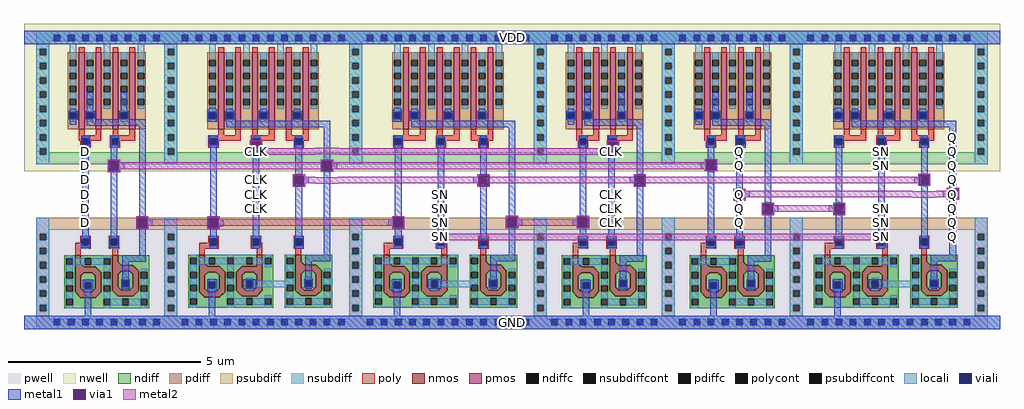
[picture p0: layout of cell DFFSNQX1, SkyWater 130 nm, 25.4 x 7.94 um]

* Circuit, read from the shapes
.subckt DFFSNQX1 Q D CLK SN VDD GND
XM1 n1 D GND GND sky130_fd_pr__nfet_01v8 w=2.6 l=0.1476
XM2 n1 n2 n3 GND sky130_fd_pr__nfet_01v8 w=2.56 l=0.1462
XM3 n4 n3 GND GND sky130_fd_pr__nfet_01v8 w=2.6 l=0.1484
XM4 n4 CLK n5 GND sky130_fd_pr__nfet_01v8 w=2.52 l=0.1479
XM5 n5 n6 n2 GND sky130_fd_pr__nfet_01v8 w=2.56 l=0.1458
XM6 n7 n3 GND GND sky130_fd_pr__nfet_01v8 w=2.6 l=0.1491
XM7 n7 SN n8 GND sky130_fd_pr__nfet_01v8 w=2.52 l=0.1479
XM8 n8 n6 n9 GND sky130_fd_pr__nfet_01v8 w=2.56 l=0.1457
XM9 n10 n9 GND GND sky130_fd_pr__nfet_01v8 w=2.6 l=0.1478
XM10 n10 CLK n6 GND sky130_fd_pr__nfet_01v8 w=2.56 l=0.146
XM11 n11 n2 GND GND sky130_fd_pr__nfet_01v8 w=2.6 l=0.1478
XM12 n11 Q n12 GND sky130_fd_pr__nfet_01v8 w=2.56 l=0.1462
XM13 n13 n12 GND GND sky130_fd_pr__nfet_01v8 w=2.6 l=0.1491
XM14 n13 SN n14 GND sky130_fd_pr__nfet_01v8 w=2.52 l=0.1478
XM15 n14 n6 Q GND sky130_fd_pr__nfet_01v8 w=2.56 l=0.146
XM16 n3 D VDD VDD sky130_fd_pr__pfet_01v8 w=2 l=0.15 m=2
XM17 n3 n2 VDD VDD sky130_fd_pr__pfet_01v8 w=2 l=0.15 m=2
XM18 n2 n3 VDD VDD sky130_fd_pr__pfet_01v8 w=2 l=0.15 m=2
XM19 n2 CLK VDD VDD sky130_fd_pr__pfet_01v8 w=2 l=0.15 m=2
XM20 n2 n6 VDD VDD sky130_fd_pr__pfet_01v8 w=2 l=0.15 m=2
XM21 n9 n3 VDD VDD sky130_fd_pr__pfet_01v8 w=2 l=0.15 m=2
XM22 n9 SN VDD VDD sky130_fd_pr__pfet_01v8 w=2 l=0.15 m=2
XM23 n9 n6 VDD VDD sky130_fd_pr__pfet_01v8 w=2 l=0.15 m=2
XM24 n6 n9 VDD VDD sky130_fd_pr__pfet_01v8 w=2 l=0.15 m=2
XM25 n6 CLK VDD VDD sky130_fd_pr__pfet_01v8 w=2 l=0.15 m=2
XM26 n12 n2 VDD VDD sky130_fd_pr__pfet_01v8 w=2 l=0.15 m=2
XM27 n12 Q VDD VDD sky130_fd_pr__pfet_01v8 w=2 l=0.15 m=2
XM28 Q n12 VDD VDD sky130_fd_pr__pfet_01v8 w=2 l=0.15 m=2
XM29 Q SN VDD VDD sky130_fd_pr__pfet_01v8 w=2 l=0.15 m=2
XM30 Q n6 VDD VDD sky130_fd_pr__pfet_01v8 w=2 l=0.15 m=2
.ends

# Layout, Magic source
magic
tech sky130A
magscale 1 2
<< nwell >>
rect 0 822 5080 1588
<< pwell >>
rect 155 21 189 53
rect 64 0 5016 21
<< psubdiff >>
rect 64 0 5016 21
<< nsubdiff >>
rect 64 1550 5016 1552
<< locali >>
rect 0 1482 5080 1552
rect 0 0 5080 70
<< metal1 >>
rect 0 1482 5080 1552
rect 4817 981 4851 1015
rect 303 907 337 941
rect 1191 907 1225 941
rect 3041 907 3075 941
rect 3707 907 3741 941
rect 4447 907 4481 941
rect 4817 907 4851 941
rect 303 833 337 867
rect 3707 833 3741 867
rect 4447 833 4481 867
rect 4817 833 4851 867
rect 303 759 337 793
rect 1191 759 1225 793
rect 4817 759 4851 793
rect 3692 725 3756 731
rect 303 685 337 719
rect 1191 685 1225 719
rect 2153 685 2187 719
rect 3041 685 3075 719
rect 3692 673 3698 725
rect 3750 673 3756 725
rect 3692 667 3756 673
rect 4803 730 4867 736
rect 4803 678 4809 730
rect 4861 678 4867 730
rect 4803 672 4867 678
rect 3840 651 3904 657
rect 303 611 337 645
rect 1191 611 1225 645
rect 2153 611 2187 645
rect 3041 611 3075 645
rect 3707 611 3741 645
rect 3840 599 3846 651
rect 3898 599 3904 651
rect 3840 593 3904 599
rect 4211 651 4275 657
rect 4211 599 4217 651
rect 4269 599 4275 651
rect 4447 611 4481 645
rect 4817 611 4851 645
rect 4211 593 4275 599
rect 303 537 337 571
rect 2153 537 2187 571
rect 3041 537 3075 571
rect 3707 537 3741 571
rect 4447 537 4481 571
rect 4817 537 4851 571
rect 2153 463 2187 497
rect 4447 463 4481 497
rect 4817 463 4851 497
rect 0 0 5080 70
<< via1 >>
rect 3698 673 3750 725
rect 4809 678 4861 730
rect 3846 599 3898 651
rect 4217 599 4269 651
<< metal2 >>
rect 3692 725 3756 731
rect 3692 673 3698 725
rect 3750 719 3756 725
rect 4803 730 4867 736
rect 4803 719 4809 730
rect 3750 717 4626 719
rect 4746 717 4809 719
rect 3750 685 4809 717
rect 3750 673 3756 685
rect 4626 683 4746 685
rect 3692 667 3756 673
rect 4803 678 4809 685
rect 4861 678 4867 730
rect 4803 672 4867 678
rect 3840 651 3904 657
rect 3840 599 3846 651
rect 3898 645 3904 651
rect 4211 651 4275 657
rect 4211 645 4217 651
rect 3898 611 4217 645
rect 3898 599 3904 611
rect 3840 593 3904 599
rect 4211 599 4217 611
rect 4269 599 4275 651
rect 4211 593 4275 599
use dffsnx1_pcell  dffsnx1_pcell_0
transform 1 0 98 0 1 36
box -87 -34 4971 1550
use li1_M1_contact  li1_M1_contact_0
transform 1 0 4242 0 1 628
box -53 -33 29 33
use li1_M1_contact  li1_M1_contact_1
transform -1 0 3872 0 -1 628
box -53 -33 29 33
use li1_M1_contact  li1_M1_contact_2
transform -1 0 3724 0 -1 702
box -53 -33 29 33
use li1_M1_contact  li1_M1_contact_11
transform 1 0 4834 0 1 702
box -53 -33 29 33
<< labels >>
rlabel metal1 4817 685 4851 719 1 Q
port 1 nsew signal output
rlabel metal1 4817 759 4851 793 1 Q
port 1 nsew signal output
rlabel metal1 4817 833 4851 867 1 Q
port 1 nsew signal output
rlabel metal1 4817 907 4851 941 1 Q
port 1 nsew signal output
rlabel metal1 4817 981 4851 1015 1 Q
port 1 nsew signal output
rlabel metal1 4817 611 4851 645 1 Q
port 1 nsew signal output
rlabel metal1 4817 537 4851 571 1 Q
port 1 nsew signal output
rlabel metal1 4817 463 4851 497 1 Q
port 1 nsew signal output
rlabel metal1 3707 537 3741 571 1 Q
port 1 nsew signal output
rlabel metal1 3707 611 3741 645 1 Q
port 1 nsew signal output
rlabel metal1 3707 685 3741 719 1 Q
port 1 nsew signal output
rlabel metal1 3707 833 3741 867 1 Q
port 1 nsew signal output
rlabel metal1 3707 907 3741 941 1 Q
port 1 nsew signal output
rlabel metal1 303 833 337 867 1 D
port 2 nsew signal input
rlabel metal1 303 685 337 719 1 D
port 2 nsew signal input
rlabel metal1 303 611 337 645 1 D
port 2 nsew signal input
rlabel metal1 303 537 337 571 1 D
port 2 nsew signal input
rlabel metal1 303 907 337 941 1 D
port 2 nsew signal input
rlabel metal1 303 759 337 793 1 D
port 2 nsew signal input
rlabel metal1 1191 759 1225 793 1 CLK
port 3 nsew signal input
rlabel metal1 1191 685 1225 719 1 CLK
port 3 nsew signal input
rlabel metal1 1191 611 1225 645 1 CLK
port 3 nsew signal input
rlabel metal1 1191 907 1225 941 1 CLK
port 3 nsew signal input
rlabel metal1 3041 611 3075 645 1 CLK
port 3 nsew signal input
rlabel metal1 3041 685 3075 719 1 CLK
port 3 nsew signal input
rlabel metal1 3041 537 3075 571 1 CLK
port 3 nsew signal input
rlabel metal1 3041 907 3075 941 1 CLK
port 3 nsew signal input
rlabel metal1 2153 463 2187 497 1 SN
port 4 nsew signal input
rlabel metal1 2153 537 2187 571 1 SN
port 4 nsew signal input
rlabel metal1 2153 611 2187 645 1 SN
port 4 nsew signal input
rlabel metal1 2153 685 2187 719 1 SN
port 4 nsew signal input
rlabel metal1 4447 537 4481 571 1 SN
port 4 nsew signal input
rlabel metal1 4447 463 4481 497 1 SN
port 4 nsew signal input
rlabel metal1 4447 611 4481 645 1 SN
port 4 nsew signal input
rlabel metal1 4447 833 4481 867 1 SN
port 4 nsew signal input
rlabel metal1 4447 907 4481 941 1 SN
port 4 nsew signal input
rlabel metal1 0 1482 5080 1552 1 VDD
port 5 nsew power bidirectional abutment
rlabel metal1 0 0 5080 70 1 GND
port 6 nsew ground bidirectional abutment
<< properties >>
string FIXED_BBOX 0 0 5080 1552
string LEFclass CORE
string LEFsite unitrh
string LEFsymmetry X Y
<< end >>

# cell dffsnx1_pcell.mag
magic
tech sky130A
magscale 1 2
<< metal1 >>
rect 1078 941 1142 947
rect 1078 889 1084 941
rect 1136 889 1142 941
rect 1078 883 1142 889
rect 2935 940 2999 946
rect 2935 888 2941 940
rect 2993 888 2999 940
rect 2935 882 2999 888
rect 338 839 402 845
rect 338 787 344 839
rect 396 787 402 839
rect 338 781 402 787
rect 1447 840 1511 846
rect 1447 788 1453 840
rect 1505 788 1511 840
rect 1447 782 1511 788
rect 3446 843 3510 849
rect 3446 791 3452 843
rect 3504 791 3510 843
rect 3446 785 3510 791
rect 1301 763 1365 769
rect 1301 711 1307 763
rect 1359 711 1365 763
rect 1301 705 1365 711
rect 2262 763 2326 769
rect 2262 711 2268 763
rect 2320 711 2326 763
rect 2262 705 2326 711
rect 3075 763 3139 769
rect 3075 711 3081 763
rect 3133 711 3139 763
rect 3075 705 3139 711
rect 4556 767 4620 773
rect 4556 715 4562 767
rect 4614 715 4620 767
rect 4556 709 4620 715
rect 486 544 550 550
rect 486 492 492 544
rect 544 492 550 544
rect 486 486 550 492
rect 856 544 920 550
rect 856 492 862 544
rect 914 492 920 544
rect 856 486 920 492
rect 1818 545 1882 551
rect 1818 493 1824 545
rect 1876 493 1882 545
rect 1818 487 1882 493
rect 2410 547 2474 553
rect 2410 495 2416 547
rect 2468 495 2474 547
rect 2410 489 2474 495
rect 2779 547 2843 553
rect 2779 495 2785 547
rect 2837 495 2843 547
rect 2779 489 2843 495
rect 2040 468 2104 474
rect 2040 416 2046 468
rect 2098 416 2104 468
rect 2040 410 2104 416
rect 4332 468 4396 474
rect 4332 416 4338 468
rect 4390 416 4396 468
rect 4332 410 4396 416
<< via1 >>
rect 1084 889 1136 941
rect 2941 888 2993 940
rect 344 787 396 839
rect 1453 788 1505 840
rect 3452 791 3504 843
rect 1307 711 1359 763
rect 2268 711 2320 763
rect 3081 711 3133 763
rect 4562 715 4614 767
rect 492 492 544 544
rect 862 492 914 544
rect 1824 493 1876 545
rect 2416 495 2468 547
rect 2785 495 2837 547
rect 2046 416 2098 468
rect 4338 416 4390 468
<< metal2 >>
rect 1078 941 1142 947
rect 1078 889 1084 941
rect 1136 905 1142 941
rect 2935 940 2999 946
rect 1419 905 1539 908
rect 2935 905 2941 940
rect 1136 889 2941 905
rect 1078 888 2941 889
rect 2993 888 2999 940
rect 1078 883 2999 888
rect 1093 882 2999 883
rect 1093 874 2981 882
rect 1093 871 1419 874
rect 1539 871 2981 874
rect 338 839 402 845
rect 338 787 344 839
rect 396 831 402 839
rect 1447 840 1511 846
rect 1447 831 1453 840
rect 396 797 1453 831
rect 396 787 402 797
rect 338 781 402 787
rect 1447 788 1453 797
rect 1505 831 1511 840
rect 3446 843 3510 849
rect 3446 831 3452 843
rect 1505 797 3452 831
rect 1505 788 1511 797
rect 1447 782 1511 788
rect 3446 791 3452 797
rect 3504 791 3510 843
rect 3446 785 3510 791
rect 1301 763 1365 769
rect 1301 711 1307 763
rect 1359 757 1365 763
rect 2262 763 2326 769
rect 2262 757 2268 763
rect 1359 754 1419 757
rect 1539 754 2268 757
rect 1359 723 2268 754
rect 1359 711 1365 723
rect 1419 720 1539 723
rect 1301 705 1365 711
rect 2262 711 2268 723
rect 2320 757 2326 763
rect 3075 763 3139 769
rect 3075 757 3081 763
rect 2320 723 3081 757
rect 2320 711 2326 723
rect 2262 705 2326 711
rect 3075 711 3081 723
rect 3133 757 3139 763
rect 4556 767 4620 773
rect 4556 757 4562 767
rect 3133 723 4562 757
rect 3133 711 3139 723
rect 3075 705 3139 711
rect 4556 715 4562 723
rect 4614 715 4620 767
rect 4556 709 4620 715
rect 486 544 550 550
rect 486 492 492 544
rect 544 535 550 544
rect 856 544 920 550
rect 856 535 862 544
rect 544 501 862 535
rect 544 492 550 501
rect 486 486 550 492
rect 856 492 862 501
rect 914 535 920 544
rect 1818 545 1882 551
rect 1818 535 1824 545
rect 914 501 1824 535
rect 914 492 920 501
rect 856 486 920 492
rect 1818 493 1824 501
rect 1876 493 1882 545
rect 1818 487 1882 493
rect 2410 547 2474 553
rect 2410 495 2416 547
rect 2468 535 2474 547
rect 2779 547 2843 553
rect 2779 535 2785 547
rect 2468 501 2785 535
rect 2468 495 2474 501
rect 2410 489 2474 495
rect 2779 495 2785 501
rect 2837 495 2843 547
rect 2779 489 2843 495
rect 2040 468 2104 474
rect 2040 416 2046 468
rect 2098 461 2104 468
rect 4332 468 4396 474
rect 4332 461 4338 468
rect 2098 427 4338 461
rect 2098 416 2104 427
rect 2040 410 2104 416
rect 4332 416 4338 427
rect 4390 416 4396 468
rect 4332 410 4396 416
use li1_M1_contact  li1_M1_contact_0
transform -1 0 1332 0 -1 740
box -53 -33 29 33
use li1_M1_contact  li1_M1_contact_1
transform -1 0 370 0 -1 814
box -53 -33 29 33
use li1_M1_contact  li1_M1_contact_3
transform -1 0 518 0 -1 518
box -53 -33 29 33
use li1_M1_contact  li1_M1_contact_11
transform 1 0 4588 0 1 740
box -53 -33 29 33
use li1_M1_contact  li1_M1_contact_12
transform 1 0 3108 0 1 740
box -53 -33 29 33
use li1_M1_contact  li1_M1_contact_13
transform 1 0 2294 0 1 740
box -53 -33 29 33
use li1_M1_contact  li1_M1_contact_14
transform 1 0 1850 0 1 518
box -53 -33 29 33
use li1_M1_contact  li1_M1_contact_15
transform -1 0 888 0 -1 517
box -53 -33 29 33
use li1_M1_contact  li1_M1_contact_16
transform -1 0 1479 0 -1 814
box -53 -33 29 33
use li1_M1_contact  li1_M1_contact_17
transform -1 0 2442 0 -1 518
box -53 -33 29 33
use li1_M1_contact  li1_M1_contact_18
transform 1 0 2812 0 1 518
box -53 -33 29 33
use li1_M1_contact  li1_M1_contact_19
transform 1 0 3478 0 1 814
box -53 -33 29 33
use nand2x1_pcell  nand2x1_pcell_0
transform 1 0 2590 0 1 0
box -87 -34 753 1550
use nand2x1_pcell  nand2x1_pcell_2
transform 1 0 3256 0 1 0
box -87 -34 753 1550
use nand2x1_pcell  nand2x1_pcell_5
transform 1 0 0 0 1 0
box -87 -34 753 1550
use nand3x1_pcell  nand3x1_pcell_0
transform 1 0 666 0 1 0
box -87 -34 1049 1550
use nand3x1_pcell  nand3x1_pcell_1
transform 1 0 3922 0 1 0
box -87 -34 1049 1550
use nand3x1_pcell  nand3x1_pcell_2
transform 1 0 1628 0 1 0
box -87 -34 1049 1550
<< end >>

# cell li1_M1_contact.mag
magic
tech sky130A
magscale 1 2
<< locali >>
rect -17 17 17 33
rect -17 -33 17 -17
<< viali >>
rect -17 -17 17 17
<< metal1 >>
rect -23 17 23 23
rect -53 -17 -17 17
rect 17 -17 29 17
rect -23 -23 23 -17
<< end >>

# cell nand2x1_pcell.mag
magic
tech sky130A
magscale 1 2
<< nwell >>
rect 87 786 579 1550
<< pwell >>
rect 34 542 632 544
rect -31 -30 697 542
rect 34 -34 632 -30
<< pdiff >>
rect 223 1093 269 1100
rect 223 1059 229 1093
rect 263 1059 269 1093
rect 223 1053 269 1059
rect 399 1093 445 1100
rect 399 1059 405 1093
rect 439 1059 445 1093
rect 399 1053 445 1059
<< pdiffc >>
rect 141 1059 175 1093
rect 229 1059 263 1093
rect 405 1059 439 1093
<< psubdiff >>
rect 34 542 632 544
rect 31 482 635 542
rect 31 480 34 482
rect 632 480 635 482
rect 31 -17 57 17
rect 91 -17 131 17
rect 165 -17 205 17
rect 239 -17 279 17
rect 313 -17 353 17
rect 387 -17 427 17
rect 461 -17 501 17
rect 535 -17 575 17
rect 609 -17 635 17
rect 31 -30 635 -17
rect 34 -34 632 -30
<< nsubdiff >>
rect 34 1497 632 1514
rect 34 1463 57 1497
rect 91 1463 131 1497
rect 165 1463 205 1497
rect 239 1463 279 1497
rect 313 1463 353 1497
rect 387 1463 427 1497
rect 461 1463 501 1497
rect 535 1463 575 1497
rect 609 1463 632 1497
rect 34 822 632 884
<< psubdiffcont >>
rect 57 -17 91 17
rect 131 -17 165 17
rect 205 -17 239 17
rect 279 -17 313 17
rect 353 -17 387 17
rect 427 -17 461 17
rect 501 -17 535 17
rect 575 -17 609 17
<< nsubdiffcont >>
rect 57 1463 91 1497
rect 131 1463 165 1497
rect 205 1463 239 1497
rect 279 1463 313 1497
rect 353 1463 387 1497
rect 427 1463 461 1497
rect 501 1463 535 1497
rect 575 1463 609 1497
<< poly >>
rect 168 375 198 413
rect 362 382 392 383
<< locali >>
rect -34 1497 634 1514
rect -34 1463 57 1497
rect 91 1463 131 1497
rect 165 1463 205 1497
rect 239 1463 279 1497
rect 313 1463 353 1497
rect 387 1463 427 1497
rect 461 1463 501 1497
rect 535 1463 575 1497
rect 609 1463 634 1497
rect -34 1446 634 1463
rect 141 1093 175 1122
rect 141 1043 175 1059
rect 229 1093 263 1122
rect 229 1043 263 1059
rect 405 1093 439 1122
rect 405 1043 439 1059
rect 33 17 659 34
rect 33 -17 57 17
rect 91 -17 131 17
rect 165 -17 205 17
rect 239 -17 279 17
rect 313 -17 353 17
rect 387 -17 427 17
rect 461 -17 501 17
rect 535 -17 575 17
rect 609 -17 659 17
rect 33 -34 659 -17
<< viali >>
rect 57 1463 91 1497
rect 131 1463 165 1497
rect 205 1463 239 1497
rect 279 1463 313 1497
rect 353 1463 387 1497
rect 427 1463 461 1497
rect 501 1463 535 1497
rect 575 1463 609 1497
rect 141 1059 175 1093
rect 229 1059 263 1093
rect 405 1059 439 1093
rect 205 923 239 957
rect 359 923 393 957
rect 205 399 239 433
rect 353 399 387 433
rect 219 174 253 208
rect 413 183 447 217
rect 57 -17 91 17
rect 131 -17 165 17
rect 205 -17 239 17
rect 279 -17 313 17
rect 353 -17 387 17
rect 427 -17 461 17
rect 501 -17 535 17
rect 575 -17 609 17
<< metal1 >>
rect -34 1497 700 1514
rect -34 1463 57 1497
rect 91 1463 131 1497
rect 165 1463 205 1497
rect 239 1463 279 1497
rect 313 1463 353 1497
rect 387 1463 427 1497
rect 461 1463 501 1497
rect 535 1463 575 1497
rect 609 1463 700 1497
rect -34 1446 700 1463
rect 141 1100 175 1111
rect 229 1100 263 1196
rect 405 1100 439 1196
rect 135 1093 181 1100
rect 135 1059 141 1093
rect 175 1059 181 1093
rect 135 1053 181 1059
rect 223 1093 269 1100
rect 223 1059 229 1093
rect 263 1059 269 1093
rect 223 1057 269 1059
rect 399 1093 445 1100
rect 399 1059 405 1093
rect 439 1059 445 1093
rect 399 1057 445 1059
rect 223 1053 535 1057
rect 141 1027 175 1053
rect 229 1023 535 1053
rect 199 957 246 969
rect 199 923 205 957
rect 239 923 246 957
rect 199 912 246 923
rect 353 957 399 969
rect 353 923 359 957
rect 393 923 399 957
rect 353 916 399 923
rect 205 441 239 912
rect 353 911 394 916
rect 353 441 387 911
rect 198 433 246 441
rect 198 399 205 433
rect 239 399 246 433
rect 198 387 246 399
rect 347 433 394 441
rect 347 399 353 433
rect 387 399 394 433
rect 347 387 394 399
rect 501 348 535 1023
rect 413 314 535 348
rect 413 224 447 314
rect 209 208 262 220
rect 209 174 219 208
rect 253 174 262 208
rect 209 165 262 174
rect 407 217 453 224
rect 407 183 413 217
rect 447 183 453 217
rect 407 171 453 183
rect 219 34 253 165
rect -34 17 700 34
rect -34 -17 57 17
rect 91 -17 131 17
rect 165 -17 205 17
rect 239 -17 279 17
rect 313 -17 353 17
rect 387 -17 427 17
rect 461 -17 501 17
rect 535 -17 575 17
rect 609 -17 700 17
rect -34 -34 700 -17
use diff_ring_side  diff_ring_side_0
transform 1 0 666 0 1 0
box -87 -34 87 1550
use diff_ring_side  diff_ring_side_1
transform 1 0 0 0 1 0
box -87 -34 87 1550
use nmos_bottom  nmos_bottom_0
transform -1 0 360 0 1 73
box 0 0 248 302
use nmos_top_trim1  nmos_top_trim1_0
transform -1 0 554 0 1 73
box 0 0 248 309
use pmos2  pmos2_0
transform 1 0 43 0 1 1404
box 52 -461 352 42
use pmos2  pmos2_1
transform 1 0 219 0 1 1404
box 52 -461 352 42
use poly_li1_contact  poly_li1_contact_0
transform 0 1 223 -1 0 941
box -32 -28 34 26
use poly_li1_contact  poly_li1_contact_1
transform 0 1 223 -1 0 417
box -32 -28 34 26
use poly_li1_contact  poly_li1_contact_2
transform 0 -1 369 1 0 415
box -32 -28 34 26
use poly_li1_contact  poly_li1_contact_3
transform 0 1 377 -1 0 941
box -32 -28 34 26
<< end >>

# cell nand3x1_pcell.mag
magic
tech sky130A
magscale 1 2
<< nwell >>
rect 87 1099 875 1550
rect 87 1093 220 1099
rect 87 1059 205 1093
rect 229 1059 263 1093
rect 87 1056 220 1059
rect 279 1056 875 1099
rect 87 786 875 1056
<< pwell >>
rect 34 -34 928 544
<< pdiffc >>
rect 201 1059 235 1093
rect 289 1059 323 1093
rect 465 1059 499 1093
rect 641 1059 675 1093
<< psubdiff >>
rect 34 482 928 544
rect 34 -17 57 17
rect 91 -17 131 17
rect 165 -17 205 17
rect 239 -17 279 17
rect 313 -17 353 17
rect 387 -17 427 17
rect 461 -17 501 17
rect 535 -17 575 17
rect 609 -17 649 17
rect 683 -17 723 17
rect 757 -17 797 17
rect 831 -17 871 17
rect 905 -17 928 17
rect 34 -34 928 -17
<< nsubdiff >>
rect 34 1497 928 1514
rect 34 1463 57 1497
rect 91 1463 131 1497
rect 165 1463 205 1497
rect 239 1463 279 1497
rect 313 1463 353 1497
rect 387 1463 427 1497
rect 461 1463 501 1497
rect 535 1463 575 1497
rect 609 1463 649 1497
rect 683 1463 723 1497
rect 757 1463 797 1497
rect 831 1463 871 1497
rect 905 1463 928 1497
rect 34 822 928 884
<< psubdiffcont >>
rect 57 -17 91 17
rect 131 -17 165 17
rect 205 -17 239 17
rect 279 -17 313 17
rect 353 -17 387 17
rect 427 -17 461 17
rect 501 -17 535 17
rect 575 -17 609 17
rect 649 -17 683 17
rect 723 -17 757 17
rect 797 -17 831 17
rect 871 -17 905 17
<< nsubdiffcont >>
rect 57 1463 91 1497
rect 131 1463 165 1497
rect 205 1463 239 1497
rect 279 1463 313 1497
rect 353 1463 387 1497
rect 427 1463 461 1497
rect 501 1463 535 1497
rect 575 1463 609 1497
rect 649 1463 683 1497
rect 723 1463 757 1497
rect 797 1463 831 1497
rect 871 1463 905 1497
<< poly >>
rect 147 383 195 413
rect 471 383 477 413
rect 147 377 177 383
rect 447 377 477 383
<< locali >>
rect 14 1497 943 1514
rect 14 1463 57 1497
rect 91 1463 131 1497
rect 165 1463 205 1497
rect 239 1463 279 1497
rect 313 1463 353 1497
rect 387 1463 427 1497
rect 461 1463 501 1497
rect 535 1463 575 1497
rect 609 1463 649 1497
rect 683 1463 723 1497
rect 757 1463 797 1497
rect 831 1463 871 1497
rect 905 1463 943 1497
rect 14 1446 943 1463
rect 201 1093 235 1120
rect 201 1043 235 1059
rect 289 1093 323 1112
rect 289 1043 323 1059
rect 465 1093 499 1117
rect 465 1043 499 1059
rect 641 1093 675 1112
rect 641 1043 675 1059
rect 427 182 603 216
rect 34 17 930 34
rect 34 -17 57 17
rect 91 -17 131 17
rect 165 -17 205 17
rect 239 -17 279 17
rect 313 -17 353 17
rect 387 -17 427 17
rect 461 -17 501 17
rect 535 -17 575 17
rect 609 -17 649 17
rect 683 -17 723 17
rect 757 -17 797 17
rect 831 -17 871 17
rect 905 -17 930 17
rect 34 -34 930 -17
<< viali >>
rect 57 1463 91 1497
rect 131 1463 165 1497
rect 205 1463 239 1497
rect 279 1463 313 1497
rect 353 1463 387 1497
rect 427 1463 461 1497
rect 501 1463 535 1497
rect 575 1463 609 1497
rect 649 1463 683 1497
rect 723 1463 757 1497
rect 797 1463 831 1497
rect 871 1463 905 1497
rect 201 1059 235 1093
rect 289 1059 323 1093
rect 465 1059 499 1093
rect 641 1059 675 1093
rect 205 923 239 957
rect 427 923 461 957
rect 649 923 683 957
rect 205 399 239 433
rect 427 399 461 433
rect 649 399 683 433
rect 198 176 232 210
rect 393 182 427 216
rect 700 185 734 219
rect 57 -17 91 17
rect 131 -17 165 17
rect 205 -17 239 17
rect 279 -17 313 17
rect 353 -17 387 17
rect 427 -17 461 17
rect 501 -17 535 17
rect 575 -17 609 17
rect 649 -17 683 17
rect 723 -17 757 17
rect 797 -17 831 17
rect 871 -17 905 17
<< metal1 >>
rect 34 1497 928 1514
rect 34 1463 57 1497
rect 91 1463 131 1497
rect 165 1463 205 1497
rect 239 1463 279 1497
rect 313 1463 353 1497
rect 387 1463 427 1497
rect 461 1463 501 1497
rect 535 1463 575 1497
rect 609 1463 649 1497
rect 683 1463 723 1497
rect 757 1463 797 1497
rect 831 1463 871 1497
rect 905 1463 928 1497
rect 34 1446 928 1463
rect 201 1107 235 1116
rect 193 1093 241 1107
rect 289 1099 323 1111
rect 465 1099 499 1111
rect 641 1099 675 1111
rect 193 1059 201 1093
rect 235 1059 241 1093
rect 193 1043 241 1059
rect 283 1093 330 1099
rect 283 1059 289 1093
rect 323 1059 330 1093
rect 283 1048 330 1059
rect 458 1093 506 1099
rect 458 1059 465 1093
rect 499 1059 506 1093
rect 458 1048 506 1059
rect 635 1093 681 1099
rect 635 1059 641 1093
rect 675 1059 681 1093
rect 635 1048 681 1059
rect 289 1014 831 1048
rect 205 967 239 969
rect 198 957 246 967
rect 427 963 461 969
rect 649 963 683 969
rect 198 923 205 957
rect 239 923 246 957
rect 198 915 246 923
rect 421 957 467 963
rect 421 923 427 957
rect 461 923 467 957
rect 421 917 467 923
rect 643 957 689 963
rect 643 923 649 957
rect 683 923 689 957
rect 205 439 239 915
rect 427 439 461 917
rect 643 914 689 923
rect 649 439 683 914
rect 199 433 245 439
rect 199 399 205 433
rect 239 399 245 433
rect 199 391 245 399
rect 421 433 468 439
rect 421 399 427 433
rect 461 399 468 433
rect 421 391 468 399
rect 643 433 689 439
rect 643 399 649 433
rect 683 399 689 433
rect 643 391 689 399
rect 205 383 239 391
rect 427 383 461 391
rect 649 383 683 391
rect 797 350 831 1014
rect 700 316 831 350
rect 700 225 734 316
rect 189 210 241 222
rect 189 176 198 210
rect 232 176 241 210
rect 189 167 241 176
rect 378 216 445 223
rect 378 182 393 216
rect 427 182 445 216
rect 378 173 445 182
rect 694 219 740 225
rect 694 185 700 219
rect 734 185 740 219
rect 694 179 740 185
rect 700 173 734 179
rect 198 34 232 167
rect 34 17 928 34
rect 34 -17 57 17
rect 91 -17 131 17
rect 165 -17 205 17
rect 239 -17 279 17
rect 313 -17 353 17
rect 387 -17 427 17
rect 461 -17 501 17
rect 535 -17 575 17
rect 609 -17 649 17
rect 683 -17 723 17
rect 757 -17 797 17
rect 831 -17 871 17
rect 905 -17 928 17
rect 34 -34 928 -17
use diff_ring_side  diff_ring_side_0
transform 1 0 962 0 1 0
box -87 -34 87 1550
use diff_ring_side  diff_ring_side_1
transform 1 0 0 0 1 0
box -87 -34 87 1550
use nmos_bottom  nmos_bottom_0
transform -1 0 339 0 1 75
box 0 0 248 302
use nmos_side_left  nmos_side_left_0
transform 1 0 285 0 1 75
box 0 0 248 302
use nmos_top_trim1  nmos_top_trim1_0
transform -1 0 841 0 1 75
box 0 0 248 309
use pmos2  pmos2_0
transform 1 0 103 0 1 1404
box 52 -461 352 42
use pmos2  pmos2_1
transform 1 0 279 0 1 1404
box 52 -461 352 42
use pmos2  pmos2_2
transform 1 0 455 0 1 1404
box 52 -461 352 42
use poly_li1_contact  poly_li1_contact_0
transform 0 1 223 -1 0 941
box -32 -28 34 26
use poly_li1_contact  poly_li1_contact_1
transform 0 -1 221 1 0 415
box -32 -28 34 26
use poly_li1_contact  poly_li1_contact_2
transform 0 -1 443 1 0 415
box -32 -28 34 26
use poly_li1_contact  poly_li1_contact_3
transform 0 -1 443 1 0 939
box -32 -28 34 26
use poly_li1_contact  poly_li1_contact_4
transform 0 -1 665 1 0 415
box -32 -28 34 26
use poly_li1_contact  poly_li1_contact_5
transform 0 1 667 -1 0 941
box -32 -28 34 26
<< end >>

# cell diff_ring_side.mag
magic
tech sky130A
magscale 1 2
<< nwell >>
rect -87 786 87 1550
<< pwell >>
rect -34 -34 34 544
<< psubdiff >>
rect -34 461 34 544
rect -34 427 -17 461
rect 17 427 34 461
rect -34 387 34 427
rect -34 353 -17 387
rect 17 353 34 387
rect -34 313 34 353
rect -34 279 -17 313
rect 17 279 34 313
rect -34 239 34 279
rect -34 205 -17 239
rect 17 205 34 239
rect -34 165 34 205
rect -34 131 -17 165
rect 17 131 34 165
rect -34 91 34 131
rect -34 57 -17 91
rect 17 57 34 91
rect -34 -34 34 57
<< nsubdiff >>
rect -34 1423 34 1514
rect -34 1389 -17 1423
rect 17 1389 34 1423
rect -34 1349 34 1389
rect -34 1315 -17 1349
rect 17 1315 34 1349
rect -34 1275 34 1315
rect -34 1241 -17 1275
rect 17 1241 34 1275
rect -34 1201 34 1241
rect -34 1167 -17 1201
rect 17 1167 34 1201
rect -34 1127 34 1167
rect -34 1093 -17 1127
rect 17 1093 34 1127
rect -34 1053 34 1093
rect -34 1019 -17 1053
rect 17 1019 34 1053
rect -34 979 34 1019
rect -34 945 -17 979
rect 17 945 34 979
rect -34 905 34 945
rect -34 871 -17 905
rect 17 871 34 905
rect -34 822 34 871
<< psubdiffcont >>
rect -17 427 17 461
rect -17 353 17 387
rect -17 279 17 313
rect -17 205 17 239
rect -17 131 17 165
rect -17 57 17 91
<< nsubdiffcont >>
rect -17 1389 17 1423
rect -17 1315 17 1349
rect -17 1241 17 1275
rect -17 1167 17 1201
rect -17 1093 17 1127
rect -17 1019 17 1053
rect -17 945 17 979
rect -17 871 17 905
<< locali >>
rect -34 1423 34 1514
rect -34 1389 -17 1423
rect 17 1389 34 1423
rect -34 1349 34 1389
rect -34 1315 -17 1349
rect 17 1315 34 1349
rect -34 1275 34 1315
rect -34 1241 -17 1275
rect 17 1241 34 1275
rect -34 1201 34 1241
rect -34 1167 -17 1201
rect 17 1167 34 1201
rect -34 1127 34 1167
rect -34 1093 -17 1127
rect 17 1093 34 1127
rect -34 1053 34 1093
rect -34 1019 -17 1053
rect 17 1019 34 1053
rect -34 979 34 1019
rect -34 945 -17 979
rect 17 945 34 979
rect -34 905 34 945
rect -34 871 -17 905
rect 17 871 34 905
rect -34 822 34 871
rect -34 461 34 544
rect -34 427 -17 461
rect 17 427 34 461
rect -34 387 34 427
rect -34 353 -17 387
rect 17 353 34 387
rect -34 313 34 353
rect -34 279 -17 313
rect 17 279 34 313
rect -34 239 34 279
rect -34 205 -17 239
rect 17 205 34 239
rect -34 165 34 205
rect -34 131 -17 165
rect 17 131 34 165
rect -34 91 34 131
rect -34 57 -17 91
rect 17 57 34 91
rect -34 -34 34 57
<< metal1 >>
rect -34 1446 34 1514
rect -34 -34 34 34
<< end >>

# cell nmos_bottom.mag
magic
tech sky130A
magscale 1 2
<< nmos >>
tri 146 215 162 231 se
rect 162 215 192 276
tri 56 185 86 215 se
rect 86 185 192 215
rect 56 84 86 185
tri 86 169 102 185 nw
tri 146 169 162 185 ne
tri 86 84 102 100 sw
tri 146 84 162 100 se
rect 162 84 192 185
tri 56 54 86 84 ne
rect 86 54 162 84
tri 162 54 192 84 nw
<< ndiff >>
rect 0 260 162 276
rect 0 226 10 260
rect 44 226 107 260
rect 141 231 162 260
rect 141 226 146 231
rect 0 215 146 226
tri 146 215 162 231 nw
rect 192 260 248 276
rect 192 226 204 260
rect 238 226 248 260
rect 0 188 56 215
rect 0 154 10 188
rect 44 154 56 188
tri 56 185 86 215 nw
rect 192 188 248 226
rect 0 120 56 154
rect 0 86 10 120
rect 44 86 56 120
rect 0 54 56 86
tri 86 169 102 185 se
rect 102 169 146 185
tri 146 169 162 185 sw
rect 86 135 162 169
rect 86 101 107 135
rect 141 101 162 135
rect 86 100 162 101
tri 86 84 102 100 ne
rect 102 84 146 100
tri 146 84 162 100 nw
rect 192 154 204 188
rect 238 154 248 188
rect 192 120 248 154
rect 192 86 204 120
rect 238 86 248 120
tri 56 54 86 84 sw
tri 162 54 192 84 se
rect 192 54 248 86
rect 0 50 248 54
rect 0 16 10 50
rect 44 16 204 50
rect 238 16 248 50
rect 0 0 248 16
<< ndiffc >>
rect 10 226 44 260
rect 107 226 141 260
rect 204 226 238 260
rect 10 154 44 188
rect 10 86 44 120
rect 107 101 141 135
rect 204 154 238 188
rect 204 86 238 120
rect 10 16 44 50
rect 204 16 238 50
<< poly >>
rect 162 276 192 302
<< locali >>
rect 10 260 44 276
rect 204 260 238 276
rect 44 226 107 260
rect 141 226 204 260
rect 10 188 44 226
rect 10 120 44 154
rect 204 188 238 226
rect 10 50 44 86
rect 107 135 141 151
rect 107 85 141 101
rect 204 120 238 154
rect 10 0 44 16
rect 204 50 238 86
rect 204 0 238 16
<< end >>

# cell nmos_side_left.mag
magic
tech sky130
magscale 1 2
<< nmos >>
rect 162 215 192 276
tri 57 185 87 215 se
rect 87 185 192 215
rect 57 91 87 185
tri 87 169 103 185 nw
tri 146 169 162 185 ne
tri 87 91 103 107 sw
tri 146 91 162 107 se
rect 162 91 192 185
tri 57 61 87 91 ne
rect 87 61 162 91
tri 162 61 192 91 nw
<< ndiff >>
rect 0 260 162 276
rect 0 226 10 260
rect 44 226 107 260
rect 141 226 162 260
rect 0 215 162 226
rect 192 260 248 276
rect 192 226 204 260
rect 238 226 248 260
rect 0 188 57 215
rect 0 154 10 188
rect 44 154 57 188
tri 57 185 87 215 nw
rect 0 120 57 154
rect 0 86 10 120
rect 44 86 57 120
tri 87 169 103 185 se
rect 103 169 146 185
tri 146 169 162 185 sw
rect 87 141 162 169
rect 87 107 108 141
rect 142 107 162 141
tri 87 91 103 107 ne
rect 103 91 146 107
tri 146 91 162 107 nw
rect 0 61 57 86
tri 57 61 87 91 sw
tri 162 61 192 91 se
rect 192 61 248 226
rect 0 50 248 61
rect 0 16 10 50
rect 44 16 107 50
rect 141 16 204 50
rect 238 16 248 50
rect 0 0 248 16
<< ndiffc >>
rect 10 226 44 260
rect 107 226 141 260
rect 204 226 238 260
rect 10 154 44 188
rect 10 86 44 120
rect 108 107 142 141
rect 10 16 44 50
rect 107 16 141 50
rect 204 16 238 50
<< poly >>
rect 162 276 192 302
<< locali >>
rect 10 260 44 276
rect 204 260 238 276
rect 44 226 107 260
rect 141 226 204 260
rect 10 188 44 226
rect 204 210 238 226
rect 10 120 44 154
rect 108 141 142 157
rect 108 91 142 107
rect 10 50 44 86
rect 204 50 238 66
rect 44 16 107 50
rect 141 16 204 50
rect 10 0 44 16
rect 204 0 238 16
<< end >>

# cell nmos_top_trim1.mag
magic
tech sky130
magscale 1 2
<< nmos >>
tri 146 223 162 239 se
rect 162 223 192 276
tri 56 193 86 223 se
rect 86 193 192 223
rect 56 92 86 193
tri 86 177 102 193 nw
tri 146 177 162 193 ne
tri 86 92 102 108 sw
tri 146 92 162 108 se
rect 162 92 192 193
tri 56 62 86 92 ne
rect 86 62 162 92
tri 162 62 192 92 nw
<< ndiff >>
rect 0 239 162 276
rect 0 223 146 239
tri 146 223 162 239 nw
rect 192 260 248 276
rect 192 226 204 260
rect 238 226 248 260
rect 0 188 56 223
tri 56 193 86 223 nw
rect 0 154 10 188
rect 44 154 56 188
rect 0 120 56 154
rect 0 86 10 120
rect 44 86 56 120
tri 86 177 102 193 se
rect 102 177 146 193
tri 146 177 162 193 sw
rect 86 144 162 177
rect 86 110 107 144
rect 141 110 162 144
rect 86 108 162 110
tri 86 92 102 108 ne
rect 102 92 146 108
tri 146 92 162 108 nw
rect 192 188 248 226
rect 192 154 204 188
rect 238 154 248 188
rect 192 120 248 154
rect 0 62 56 86
tri 56 62 86 92 sw
tri 162 62 192 92 se
rect 192 86 204 120
rect 238 86 248 120
rect 192 62 248 86
rect 0 50 248 62
rect 0 16 10 50
rect 44 16 107 50
rect 141 16 204 50
rect 238 16 248 50
rect 0 0 248 16
<< ndiffc >>
rect 204 226 238 260
rect 10 154 44 188
rect 10 86 44 120
rect 107 110 141 144
rect 204 154 238 188
rect 204 86 238 120
rect 10 16 44 50
rect 107 16 141 50
rect 204 16 238 50
<< poly >>
rect 162 276 192 309
<< locali >>
rect 204 260 238 276
rect 10 188 44 204
rect 204 188 238 226
rect 10 120 44 154
rect 107 144 141 161
rect 107 94 141 110
rect 204 120 238 154
rect 10 50 44 86
rect 204 50 238 86
rect 44 16 107 50
rect 141 16 204 50
rect 10 0 44 16
rect 204 0 238 16
<< end >>

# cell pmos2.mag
magic
tech sky130A
magscale 1 2
<< nwell >>
rect 52 -436 352 36
<< pmos >>
rect 144 -400 174 0
rect 232 -400 262 0
<< pdiff >>
rect 88 -38 144 0
rect 88 -72 98 -38
rect 132 -72 144 -38
rect 88 -106 144 -72
rect 88 -140 98 -106
rect 132 -140 144 -106
rect 88 -174 144 -140
rect 88 -208 98 -174
rect 132 -208 144 -174
rect 88 -242 144 -208
rect 88 -276 98 -242
rect 132 -276 144 -242
rect 88 -400 144 -276
rect 174 -38 232 0
rect 174 -72 186 -38
rect 220 -72 232 -38
rect 174 -106 232 -72
rect 174 -140 186 -106
rect 220 -140 232 -106
rect 174 -174 232 -140
rect 174 -208 186 -174
rect 220 -208 232 -174
rect 174 -242 232 -208
rect 174 -276 186 -242
rect 220 -276 232 -242
rect 174 -400 232 -276
rect 262 -38 316 0
rect 262 -72 274 -38
rect 308 -72 316 -38
rect 262 -106 316 -72
rect 262 -140 274 -106
rect 308 -140 316 -106
rect 262 -174 316 -140
rect 262 -208 274 -174
rect 308 -208 316 -174
rect 262 -242 316 -208
rect 262 -276 274 -242
rect 308 -276 316 -242
rect 262 -400 316 -276
<< pdiffc >>
rect 98 -72 132 -38
rect 98 -140 132 -106
rect 98 -208 132 -174
rect 98 -276 132 -242
rect 186 -72 220 -38
rect 186 -140 220 -106
rect 186 -208 220 -174
rect 186 -276 220 -242
rect 274 -72 308 -38
rect 274 -140 308 -106
rect 274 -208 308 -174
rect 274 -276 308 -242
<< poly >>
rect 144 0 174 26
rect 232 0 262 26
rect 144 -431 174 -400
rect 232 -431 262 -400
rect 144 -461 262 -431
<< locali >>
rect 98 -38 132 42
rect 98 -106 132 -72
rect 98 -174 132 -140
rect 98 -242 132 -208
rect 98 -293 132 -276
rect 186 -38 220 0
rect 186 -106 220 -72
rect 186 -174 220 -140
rect 186 -242 220 -208
rect 186 -293 220 -276
rect 274 -38 308 42
rect 274 -106 308 -72
rect 274 -174 308 -140
rect 274 -242 308 -208
rect 274 -293 308 -276
<< end >>

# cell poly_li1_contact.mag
magic
tech sky130
<< poly >>
rect -16 8 17 13
rect -16 -9 -8 8
rect 9 -9 17 8
rect -16 -14 17 -9
<< polycont >>
rect -8 -9 9 8
<< locali >>
rect -16 -9 -8 8
rect 9 -9 17 8
<< end >>
